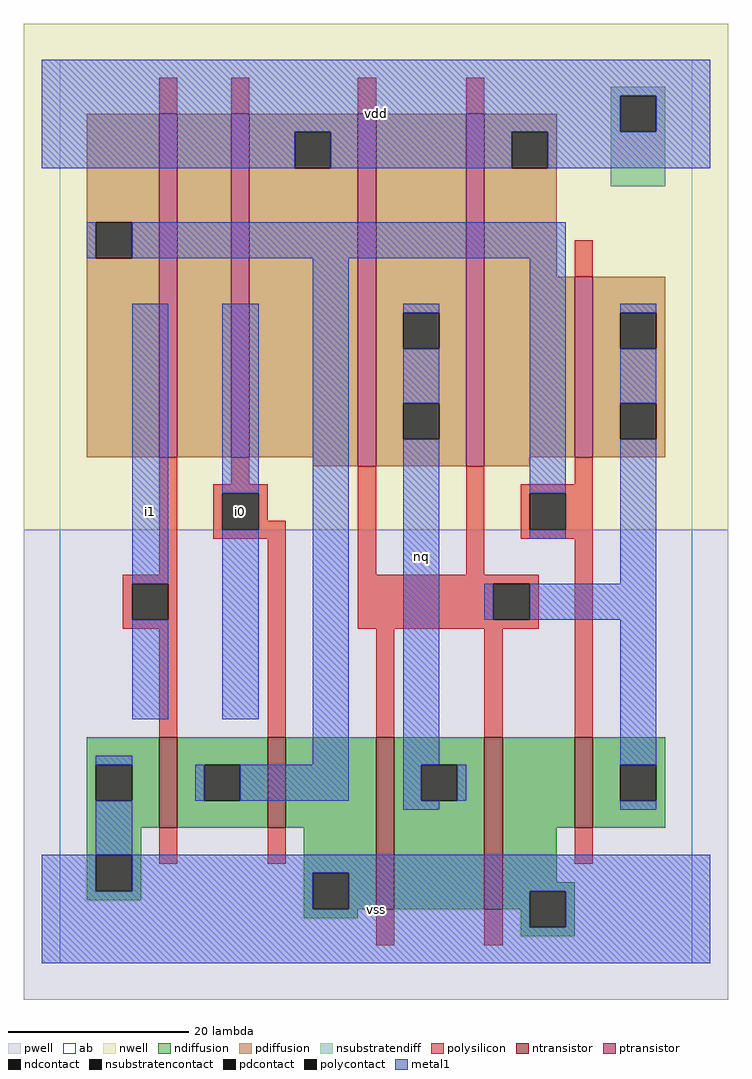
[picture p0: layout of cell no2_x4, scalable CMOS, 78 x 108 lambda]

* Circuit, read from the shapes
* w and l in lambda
.subckt no2_x4 i0 i1 nq vdd vss
M1 n1 i1 vss VSUBS nfet w=10 l=2
M2 vss i0 n1 VSUBS nfet w=10 l=2
M3 nq n2 vss VSUBS nfet w=19 l=2 m=2
M4 n2 n1 vss VSUBS nfet w=10 l=2
M5 n3 i1 n1 vdd pfet w=38 l=2
M6 vdd i0 n3 vdd pfet w=38 l=2
M7 nq n2 vdd vdd pfet w=39 l=2 m=2
M8 n2 n1 vdd vdd pfet w=20 l=2
.ends

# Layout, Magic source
magic
tech scmos
<< ab >>
rect 0 0 70 100
<< pwell >>
rect -4 -4 74 48
<< nwell >>
rect -4 48 74 104
<< polysilicon >>
rect 11 94 13 98
rect 19 94 21 98
rect 33 94 35 98
rect 45 94 47 98
rect 11 43 13 56
rect 19 53 21 56
rect 57 76 59 80
rect 17 52 23 53
rect 17 48 18 52
rect 22 49 23 52
rect 22 48 25 49
rect 17 47 25 48
rect 7 42 13 43
rect 7 38 8 42
rect 12 38 13 42
rect 7 37 13 38
rect 11 25 13 37
rect 23 25 25 47
rect 33 43 35 55
rect 45 43 47 55
rect 57 53 59 56
rect 51 52 59 53
rect 51 48 52 52
rect 56 48 59 52
rect 51 47 59 48
rect 33 42 53 43
rect 33 38 48 42
rect 52 38 53 42
rect 33 37 53 38
rect 35 25 37 37
rect 47 25 49 37
rect 57 25 59 47
rect 11 11 13 15
rect 23 11 25 15
rect 57 11 59 15
rect 35 2 37 6
rect 47 2 49 6
<< ndiffusion >>
rect 3 22 11 25
rect 3 18 4 22
rect 8 18 11 22
rect 3 15 11 18
rect 13 22 23 25
rect 13 18 16 22
rect 20 18 23 22
rect 13 15 23 18
rect 25 15 35 25
rect 3 12 9 15
rect 3 8 4 12
rect 8 8 9 12
rect 3 7 9 8
rect 27 10 35 15
rect 27 6 28 10
rect 32 6 35 10
rect 37 22 47 25
rect 37 18 40 22
rect 44 18 47 22
rect 37 6 47 18
rect 49 15 57 25
rect 59 22 67 25
rect 59 18 62 22
rect 66 18 67 22
rect 59 15 67 18
rect 49 9 55 15
rect 49 8 57 9
rect 49 6 52 8
rect 27 5 33 6
rect 51 4 52 6
rect 56 4 57 8
rect 51 3 57 4
<< pdiffusion >>
rect 3 82 11 94
rect 3 78 4 82
rect 8 78 11 82
rect 3 56 11 78
rect 13 56 19 94
rect 21 92 33 94
rect 21 88 26 92
rect 30 88 33 92
rect 21 56 33 88
rect 28 55 33 56
rect 35 72 45 94
rect 35 68 38 72
rect 42 68 45 72
rect 35 62 45 68
rect 35 58 38 62
rect 42 58 45 62
rect 35 55 45 58
rect 47 92 55 94
rect 47 88 50 92
rect 54 88 55 92
rect 47 76 55 88
rect 47 56 57 76
rect 59 72 67 76
rect 59 68 62 72
rect 66 68 67 72
rect 59 62 67 68
rect 59 58 62 62
rect 66 58 67 62
rect 59 56 67 58
rect 47 55 52 56
<< metal1 >>
rect -2 96 72 100
rect -2 92 62 96
rect 66 92 72 96
rect -2 88 26 92
rect 30 88 50 92
rect 54 88 72 92
rect 3 78 4 82
rect 8 78 56 82
rect 8 42 12 73
rect 8 27 12 38
rect 18 52 22 73
rect 18 27 22 48
rect 4 22 8 23
rect 28 22 32 78
rect 15 18 16 22
rect 20 18 32 22
rect 38 72 42 73
rect 38 62 42 68
rect 38 22 42 58
rect 52 52 56 78
rect 52 47 56 48
rect 62 72 66 73
rect 62 62 66 68
rect 62 42 66 58
rect 47 38 48 42
rect 52 38 66 42
rect 62 22 66 38
rect 38 18 40 22
rect 44 18 45 22
rect 4 12 8 18
rect 38 17 42 18
rect 62 17 66 18
rect -2 8 4 12
rect 8 10 72 12
rect 8 8 28 10
rect -2 6 28 8
rect 32 8 72 10
rect 32 6 52 8
rect -2 4 52 6
rect 56 4 72 8
rect -2 0 72 4
<< ntransistor >>
rect 11 15 13 25
rect 23 15 25 25
rect 35 6 37 25
rect 47 6 49 25
rect 57 15 59 25
<< ptransistor >>
rect 11 56 13 94
rect 19 56 21 94
rect 33 55 35 94
rect 45 55 47 94
rect 57 56 59 76
<< polycontact >>
rect 18 48 22 52
rect 8 38 12 42
rect 52 48 56 52
rect 48 38 52 42
<< ndcontact >>
rect 4 18 8 22
rect 16 18 20 22
rect 4 8 8 12
rect 28 6 32 10
rect 40 18 44 22
rect 62 18 66 22
rect 52 4 56 8
<< pdcontact >>
rect 4 78 8 82
rect 26 88 30 92
rect 38 68 42 72
rect 38 58 42 62
rect 50 88 54 92
rect 62 68 66 72
rect 62 58 66 62
<< nsubstratencontact >>
rect 62 92 66 96
<< nsubstratendiff >>
rect 61 96 67 97
rect 61 92 62 96
rect 66 92 67 96
rect 61 86 67 92
<< labels >>
rlabel metal1 10 50 10 50 6 i1
rlabel polycontact 20 50 20 50 6 i0
rlabel metal1 35 6 35 6 6 vss
rlabel metal1 40 45 40 45 6 nq
rlabel metal1 35 94 35 94 6 vdd
<< end >>
